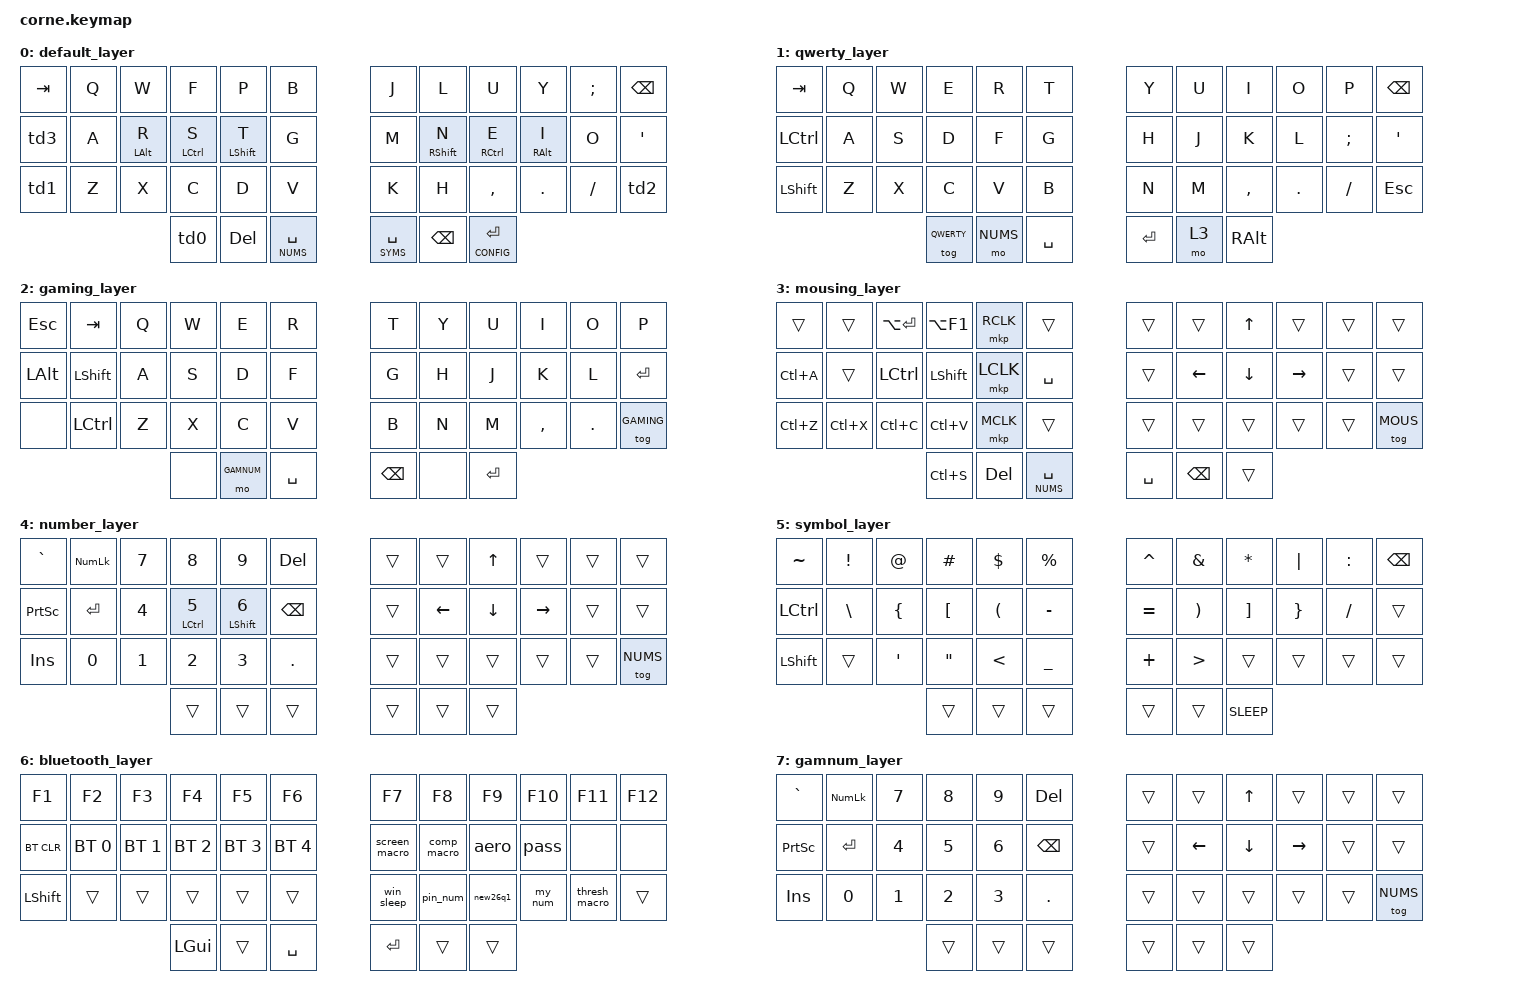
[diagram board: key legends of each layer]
/*
 * Copyright (c) 2020 The ZMK Contributors
 *
 * SPDX-License-Identifier: MIT
 */

#include <behaviors.dtsi>
#include <dt-bindings/zmk/keys.h>
#include <dt-bindings/zmk/bt.h>
#include <dt-bindings/zmk/mouse.h>
#include <dt-bindings/zmk/pointing.h>

#define DEFAULT 0
#define QWERTY 1
#define GAMING 2
#define MOUS 3
#define NUMS 4
#define SYMS 5
#define CONFIG 6
#define GAMNUM 7

&lt {
        tapping-term-ms = <150>;
};

&mt {
        tapping-term-ms = <150>;
};

/ {
        macros {
                win_sleep: win_sleep {
                        compatible = "zmk,behavior-macro";
                        wait-ms = <50>;
                        tap-ms = <50>;
                        #binding-cells = <0>;
                        bindings = <&kp LG(X) &kp U &kp S>;
                };

                pin_num: pin_num {
                        compatible = "zmk,behavior-macro";
                        wait-ms = <50>;
                        tap-ms = <50>;
                        #binding-cells = <0>;
                        bindings = <&kp N0 &kp N8 &kp N0 &kp N8 &kp N0 &kp N8>;
                };

                test_macro: test_macro {
                        compatible = "zmk,behavior-macro";
                        wait-ms = <50>;
                        tap-ms = <50>;
                        #binding-cells = <0>;
                        bindings = <&macro_press &kp LSHFT>,
                                   <&macro_tap &kp U>,
                                   <&macro_release &kp LSHFT>,
                                   <&macro_tap &kp S>;
                };

                screen_macro: screen_macro {
                        compatible = "zmk,behavior-macro";
                        wait-ms = <50>;
                        tap-ms = <50>;
                        #binding-cells = <0>;
                        bindings = <&kp LG(LS(S))>;
                };

                thresh_macro: thresh_macro {
                        compatible = "zmk,behavior-macro";
                        wait-ms = <50>;
                        tap-ms = <50>;
                        #binding-cells = <0>;
                        bindings = <&kp RIGHT &kp UNDER &kp LS(T) &kp H &kp R &kp E &kp S &kp H &kp RET>;
                };

                my_num: my_num {
                        compatible = "zmk,behavior-macro";
                        wait-ms = <50>;
                        tap-ms = <50>;
                        #binding-cells = <0>;
                        bindings = <&kp N2 &kp N2 &kp N3 &kp N1 &kp N0 &kp N7 &kp N6 &kp N0 &kp N4>;
                };

                aero: aero {
                        compatible = "zmk,behavior-macro";
                        wait-ms = <50>;
                        tap-ms = <50>;
                        #binding-cells = <0>;
                        bindings = <&kp LS(A) &kp M &kp P &kp E &kp D &kp U &kp P &kp E &kp LS(D) &kp N0 &kp N8 &kp N0 &kp N8 &kp LS(A) &kp RET>;
                };

                new26q1: new26q1 {
                        compatible = "zmk,behavior-macro";
                        wait-ms = <50>;
                        tap-ms = <50>;
                        #binding-cells = <0>;
                        bindings = <&kp LS(R) &kp A &kp M &kp E &kp N &kp LS(G) &kp U &kp Y &kp N0 &kp N8 &kp N0 &kp N8 &kp LS(W) &kp RET>;
                };

                comp_macro: comp_macro {
                        compatible = "zmk,behavior-macro";
                        wait-ms = <50>;
                        tap-ms = <50>;
                        #binding-cells = <0>;
                        bindings = <&kp LS(R) &kp A &kp M &kp E &kp N &kp LS(G) &kp U &kp Y &kp N0 &kp N8 &kp N0 &kp N8 &kp LS(G) &kp RET>;
                };

                pass: pass {
                        compatible = "zmk,behavior-macro";
                        wait-ms = <50>;
                        tap-ms = <50>;
                        #binding-cells = <0>;
                        bindings = <&kp LS(R) &kp A &kp M &kp E &kp N &kp LS(G) &kp U &kp Y &kp N0 &kp N8 &kp N0 &kp N8 &kp EXCL &kp EXCL &kp RET>;
                };
        };
};

/ {
        behaviors {
                ht: hold_tap {
                        label = "hold_tap";
                        compatible = "zmk,behavior-hold-tap";
                        #binding-cells = <2>;
                        flavor = "tap-preferred";
                        tapping-term-ms = <200>;
                        quick-tap-ms = <150>;
                        global-quick-tap;
                        bindings = <&kp>, <&kp>;
                };

                td0: tap_dance_0 {
                        compatible = "zmk,behavior-tap-dance";
                        #binding-cells = <0>;
                        tapping-term-ms = <125>;
                        bindings = <&kp ESC>, <&tog QWERTY>;
                };

                td1: tap_dance_1 {
                        compatible = "zmk,behavior-tap-dance";
                        #binding-cells = <0>;
                        tapping-term-ms = <200>;
                        bindings = <&kp LSHFT>, <&kp LGUI>;
                };

                td2: tap_dance_2 {
                        compatible = "zmk,behavior-tap-dance";
                        #binding-cells = <0>;
                        tapping-term-ms = <500>;
                        bindings = <&tog NUMS>, <&tog MOUS>, <&tog GAMING>;
                };

                td3: tap_dance_3 {
                        compatible = "zmk,behavior-tap-dance";
                        #binding-cells = <0>;
                        tapping-term-ms = <200>;
                        bindings = <&kp LCTRL>, <&kp CAPS>;
                };
        };

        keymap {
                compatible = "zmk,keymap";

                default_layer {
// -----------------------------------------------------------------------------------------
// |  TAB |  Q  |  W  |  E  |  R  |  T  |   |  Y  |  U   |  I  |  O  |  P  | BKSP |
// | CTRL |  A  |  S  |  D  |  F  |  G  |   |  H  |  J   |  K  |  L  |  ;  |  '   |
// | SHFT |  Z  |  X  |  C  |  V  |  B  |   |  N  |  M   |  ,  |  .  |  /  | ESC  |
//                    | GUI | LWR | SPC |   | ENT | RSE  | ALT |
                        bindings = <
   &kp TAB   &kp Q &kp W &kp F &kp P &kp B   &kp J &kp L  &kp U     &kp Y   &kp SEMI &kp BSPC
   &td3 &kp A &ht LALT R &ht LCTRL S &ht LSHFT T &kp G   &kp M &ht RSHFT N  &ht RCTRL E &ht RALT I   &kp O    &kp SQT
   &td1 &kp Z &kp X &kp C &kp D &kp V   &kp K &kp H  &kp COMMA &kp DOT &kp FSLH &td2
                  &td0 &kp DEL &lt NUMS SPACE   &lt SYMS SPACE &kp BSPC &lt CONFIG RET
                        >;
                };

                qwerty_layer {

                        bindings = <
   &kp TAB   &kp Q &kp W &kp E &kp R &kp T &kp Y &kp U &kp I &kp O &kp P &kp BSPC
   &kp LCTRL &kp A &kp S &kp D &kp F &kp G &kp H &kp J &kp K &kp L &kp SEMI &kp SQT
   &kp LSHFT &kp Z &kp X &kp C &kp V &kp B &kp N &kp M &kp COMMA &kp DOT &kp FSLH &kp ESC
                  &tog QWERTY &mo NUMS &kp SPACE    &kp RET &mo 3 &kp RALT
                        >;
                };

                gaming_layer {

                        bindings = <
    &kp ESC &kp TAB &kp Q &kp W &kp E &kp R &kp T &kp Y &kp U &kp I &kp O &kp P 
    &kp LALT &kp LSHFT &kp A &kp S &kp D &kp F &kp G &kp H &kp J &kp K &kp L &kp RET 
    &none &kp LCTRL &kp Z &kp X &kp C &kp V &kp B &kp N &kp M &kp COMMA &kp DOT &tog GAMING 
                        &none &mo GAMNUM &kp SPACE &kp BSPC &none &kp RET
                        >;
                };

                mousing_layer {
                        bindings = <
    &trans &trans &kp LA(RET) &kp LA(F1) &mkp RCLK &trans &trans &trans &kp UP &trans &trans &trans
    &kp LC(A) &trans &kp LCTRL &kp LSHFT &mkp LCLK &kp SPACE &trans &kp LEFT &kp DOWN &kp RIGHT &trans &trans
    &kp LC(Z) &kp LC(X) &kp LC(C) &kp LC(V) &mkp MCLK &trans &trans &trans &trans &trans &trans &tog MOUS
                        &kp LC(S) &kp DEL &lt NUMS SPACE   &kp SPACE &kp BSPC &trans
                        >;
                };

                number_layer {

                        bindings = <
   &kp GRAVE &kp KP_NLCK &kp N7 &kp N8 &kp N9  &kp DEL    &trans &trans   &kp UP   &trans &trans &trans
   &kp PSCRN  &kp RET &kp N4 &ht LCTRL N5 &ht LSHFT N6  &kp BSPC    &trans &kp LEFT &kp DOWN &kp RIGHT &trans &trans
   &kp INSERT &kp N0 &kp N1 &kp N2 &kp N3 &kp DOT    &trans &trans &trans &trans &trans &tog NUMS
                  &trans &trans &trans                    &trans &trans &trans
                        >;
                };

                symbol_layer {

                        bindings = <
    &kp TILDE &kp EXCL &kp AT &kp HASH &kp DLLR &kp PRCNT &kp CARET &kp AMPS &kp STAR &kp PIPE &kp COLON &kp BSPC
    &kp LCTRL &kp BSLH &kp LBRC &kp LBKT &kp LPAR &kp MINUS &kp EQUAL &kp RPAR &kp RBKT &kp RBRC &kp FSLH &trans
    &kp LSHFT &trans &kp SQT &kp DQT &kp LT &kp UNDER &kp PLUS &kp GT &trans &trans &trans &trans 
                  &trans &trans  &trans  &trans  &trans  &kp C_SLEEP 
                        >;
                };

                bluetooth_layer {
// -----------------------------------------------------------------------------------------
// |  TAB |  1  |  2  |  3  |  4  |  5  |   |  6  |  7  |  8  |  9  |  0  | BKSP |
// | BTCLR| BT1 | BT2 | BT3 | BT4 | BT5 |   | LFT | DWN |  UP | RGT |     |      |
// | SHFT |     |     |     |     |     |   |     |     |     |     |     |      |
//                    | GUI |     | SPC |   | ENT |     | ALT |
                        bindings = <
   &kp F1       &kp F2       &kp F3       &kp F4       &kp F5         &kp F6   &kp F7   &kp F8 &kp  F9    &kp F10 &kp F11 &kp F12
   &bt BT_CLR &bt BT_SEL 0 &bt BT_SEL 1 &bt BT_SEL 2 &bt BT_SEL 3 &bt BT_SEL 4   &screen_macro &comp_macro &aero &pass &none &none
   &kp LSHFT  &trans       &trans       &trans       &trans       &trans         &win_sleep   &pin_num   &new26q1 &my_num  &thresh_macro &trans
                                    &kp LGUI     &trans       &kp SPACE      &kp RET  &trans   &trans
                        >;
                };

                gamnum_layer {

                        bindings = <
   &kp GRAVE &kp KP_NLCK &kp N7 &kp N8 &kp N9  &kp DEL    &trans &trans   &kp UP   &trans &trans &trans
   &kp PSCRN  &kp RET &kp N4 &kp N5 &kp N6  &kp BSPC    &trans &kp LEFT &kp DOWN &kp RIGHT &trans &trans
   &kp INSERT &kp N0 &kp N1 &kp N2 &kp N3 &kp DOT    &trans &trans &trans &trans &trans &tog NUMS
                  &trans &trans &trans                    &trans &trans &trans
                        >;
                };
        };
};
